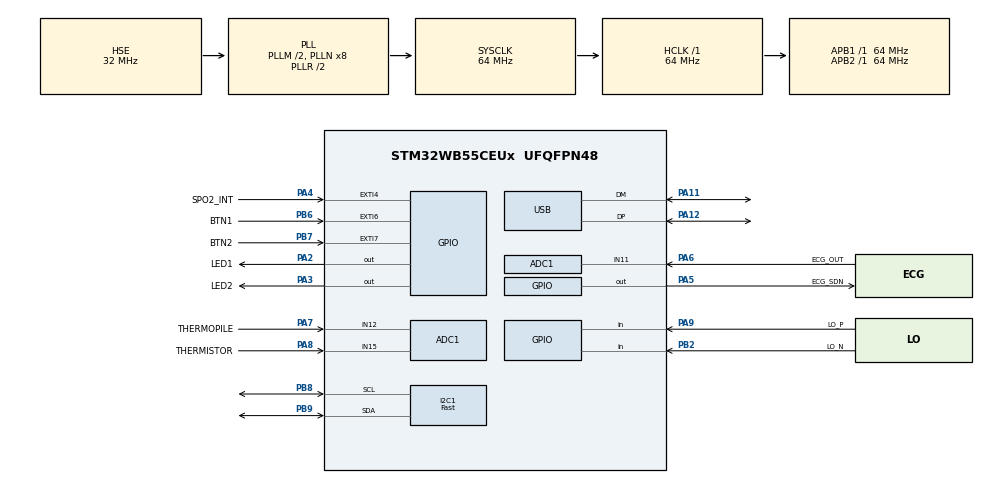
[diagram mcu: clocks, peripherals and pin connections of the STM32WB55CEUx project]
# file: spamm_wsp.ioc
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ADC1.Channel-0\#ChannelRegularConversion=ADC_CHANNEL_11
ADC1.ClockPrescaler=ADC_CLOCK_ASYNC_DIV2
ADC1.NbrOfConversionFlag=1
ADC1.OffsetNumber-0\#ChannelRegularConversion=ADC_OFFSET_NONE
ADC1.Rank-0\#ChannelRegularConversion=1
ADC1.SamplingTime-0\#ChannelRegularConversion=ADC_SAMPLETIME_640CYCLES_5
ADC1.master=1
FREERTOS.Tasks01=defaultTask,24,128,StartDefaultTask,Default,NULL,Dynamic,NULL,NULL;max30102Task,48,256,StartMax30102Task,Default,NULL,Static,max30102TaskBuffer,max30102TaskControlBlock;usbTask,8,512,StartUSBTask,Default,NULL,Static,usbTaskBuffer,usbTaskControlBlock;ecgTask,40,512,StartECGTask,Default,NULL,Dynamic,NULL,NULL
FREERTOS.configENABLE_FPU=1
I2C1.I2C_Speed_Mode=I2C_Fast
I2C1.Timing=0x00602173
Mcu.Family=STM32WB
Mcu.Name=STM32WB55CEUx
Mcu.Package=UFQFPN48
NVIC.ADC1_IRQn=true\:5\:0\:true\:false\:true\:false\:true\:true
NVIC.EXTI4_IRQn=true\:5\:0\:true\:false\:true\:true\:true\:true
NVIC.EXTI9_5_IRQn=true\:5\:0\:false\:false\:true\:false\:true\:true
NVIC.I2C1_EV_IRQn=true\:0\:0\:false\:false\:true\:true\:true\:true
NVIC.PriorityGroup=NVIC_PRIORITYGROUP_4
NVIC.TIM1_UP_TIM16_IRQn=true\:0\:0\:false\:false\:true\:false\:false\:true
NVIC.TIM2_IRQn=true\:0\:0\:false\:false\:true\:true\:true\:true
NVIC.TimeBase=TIM1_UP_TIM16_IRQn
NVIC.TimeBaseIP=TIM1
NVIC.USB_LP_IRQn=true\:0\:0\:false\:false\:true\:true\:false\:true
OSC_IN.Mode=HSE-External-Oscillator
OSC_IN.Signal=RCC_OSC_IN
OSC_OUT.Mode=HSE-External-Oscillator
OSC_OUT.Signal=RCC_OSC_OUT
PA11.Mode=Device
PA11.Signal=USB_DM
PA12.Mode=Device
PA12.Signal=USB_DP
PA13.Mode=Serial_Wire
PA13.Signal=SYS_JTMS-SWDIO
PA14.Mode=Serial_Wire
PA14.Signal=SYS_JTCK-SWCLK
PA2.GPIO_Label=LED1
PA2.Signal=GPIO_Output
PA3.GPIO_Label=LED2
PA3.Signal=GPIO_Output
PA4.GPIO_Label=SPO2_INT
PA4.GPIO_ModeDefaultEXTI=GPIO_MODE_IT_FALLING
PA4.GPIO_PuPd=GPIO_PULLUP
PA4.Signal=GPXTI4
PA5.GPIO_Label=ECG_SDN
PA5.Signal=GPIO_Output
PA6.GPIO_Label=ECG_OUT
PA6.Signal=ADCx_IN11
PA7.GPIO_Label=THERMOPILE
PA7.Signal=ADCx_IN12
PA8.GPIO_Label=THERMISTOR
PA8.Signal=ADCx_IN15
PA9.GPIO_Label=LO_P
PA9.Signal=GPIO_Input
PB2.GPIO_Label=LO_N
PB2.Signal=GPIO_Input
PB6.GPIO_Label=BTN1
PB6.GPIO_ModeDefaultEXTI=GPIO_MODE_IT_FALLING
PB6.GPIO_PuPd=GPIO_PULLUP
PB6.Signal=GPXTI6
PB7.GPIO_Label=BTN2
PB7.GPIO_PuPd=GPIO_PULLUP
PB7.Signal=GPXTI7
PB8.GPIO_FM8=SYSCFG_FASTMODEPLUS_PB8
PB8.GPIO_PuPdOD=GPIO_NOPULL
PB8.GPIO_Speed=GPIO_SPEED_FREQ_VERY_HIGH
PB8.Mode=I2C
PB8.Signal=I2C1_SCL
PB9.GPIO_FM9=SYSCFG_FASTMODEPLUS_PB9
PB9.GPIO_PuPdOD=GPIO_NOPULL
PB9.GPIO_Speed=GPIO_SPEED_FREQ_VERY_HIGH
PB9.Mode=I2C
PB9.Signal=I2C1_SDA
ProjectManager.HeapSize=0x200
ProjectManager.StackSize=0x400
ProjectManager.TargetToolchain=STM32CubeIDE
RCC.ADCCLockSelection=RCC_ADCCLKSOURCE_PLL
RCC.ADCFreq_Value=64000000
RCC.AHB2CLKDivider=RCC_SYSCLK_DIV2
RCC.AHBFreq_Value=64000000
RCC.APB1Freq_Value=64000000
RCC.APB1TimFreq_Value=64000000
RCC.APB2Freq_Value=64000000
RCC.APB2TimFreq_Value=64000000
RCC.APB3Freq_Value=16000000
RCC.Cortex2_Div=SYSTICK_CLKSOURCE_HCLK_DIV8
RCC.CortexFreq_Value=64000000
RCC.HCLKFreq_Value=64000000
RCC.HSE_VALUE=32000000
RCC.HSI48_VALUE=48000000
RCC.HSI_VALUE=16000000
RCC.LSE_VALUE=32768
RCC.PLLM=RCC_PLLM_DIV2
RCC.PLLSAI1N=6
RCC.PLLSourceVirtual=RCC_PLLSOURCE_HSE
RCC.SMPSCLockSelectionVirtual=RCC_SMPSCLKSOURCE_HSE
RCC.SYSCLKFreq_VALUE=64000000
RCC.SYSCLKSource=RCC_SYSCLKSOURCE_PLLCLK
RCC.USBFreq_Value=48000000
RCC.VCOOutputFreq_Value=128000000
RF1.Signal=RF_RF1
SH.ADCx_IN11.0=ADC1_IN11,IN11-Single-Ended
SH.ADCx_IN12.0=ADC1_IN12,IN12-Single-Ended
SH.ADCx_IN15.0=ADC1_IN15,IN15-Single-Ended
TIM2.AutoReloadPreload=TIM_AUTORELOAD_PRELOAD_ENABLE
TIM2.Channel-Output\ Compare1\ No\ Output=TIM_CHANNEL_1
TIM2.CounterMode=TIM_COUNTERMODE_DOWN
TIM2.OCMode_1=TIM_OCMODE_ACTIVE
TIM2.Period=512000
TIM2.Pulse-Output\ Compare1\ No\ Output=10
USB_DEVICE.CLASS_NAME_FS=CDC
USB_DEVICE.VirtualMode=Cdc
USB_DEVICE.VirtualModeFS=Cdc_FS
VP_FREERTOS_VS_CMSIS_V2.Mode=CMSIS_V2
VP_SYS_VS_tim1.Mode=TIM1
VP_SYS_V_PVD_IN.Mode=Mode_PVD_Int
VP_TIM2_VS_no_output1.Mode=Output Compare1 No Output
VP_USB_DEVICE_VS_USB_DEVICE_CDC_FS.Mode=CDC_FS
board=custom

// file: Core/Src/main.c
/* USER CODE BEGIN Header */
/**
  ******************************************************************************
  * @file           : main.c
  * @brief          : Main program body
  ******************************************************************************
  * @attention
  *
  * <h2><center>&copy; Copyright (c) 2021 STMicroelectronics.
  * All rights reserved.</center></h2>
  *
  * This software component is licensed by ST under BSD 3-Clause license,
  * the "License"; You may not use this file except in compliance with the
  * License. You may obtain a copy of the License at:
  *                        opensource.org/licenses/BSD-3-Clause
  *
  ******************************************************************************
  */
/* USER CODE END Header */
#include "main.h"
#include "cmsis_os.h"
#include "usb_device.h"

/* USER CODE BEGIN Includes */
#include "usbd_cdc_if.h"
#include "stm_smps.h"
#include "adc.h"
#include "temperature.h"
#include "ecg.h"
#include "morse_tx.h"
#include "menu.h"
#include "das.h"
#include "MAX30102/MAX30102.h"
#include "string.h"
#include "stdio.h"
#include "usb_printf.h"

/* USER CODE END Includes */

typedef StaticTask_t osStaticThreadDef_t;

ADC_HandleTypeDef hadc1;

I2C_HandleTypeDef hi2c1;

TIM_HandleTypeDef htim2;

/* Definitions for defaultTask */
osThreadId_t defaultTaskHandle;
const osThreadAttr_t defaultTask_attributes = {
  .name = "defaultTask",
  .priority = (osPriority_t) osPriorityNormal,
  .stack_size = 128 * 4
};
/* Definitions for max30102Task */
osThreadId_t max30102TaskHandle;
uint32_t max30102TaskBuffer[ 256 ];
osStaticThreadDef_t max30102TaskControlBlock;
const osThreadAttr_t max30102Task_attributes = {
  .name = "max30102Task",
  .stack_mem = &max30102TaskBuffer[0],
  .stack_size = sizeof(max30102TaskBuffer),
  .cb_mem = &max30102TaskControlBlock,
  .cb_size = sizeof(max30102TaskControlBlock),
  .priority = (osPriority_t) osPriorityRealtime,
};
/* Definitions for usbTask */
osThreadId_t usbTaskHandle;
uint32_t usbTaskBuffer[ 512 ];
osStaticThreadDef_t usbTaskControlBlock;
const osThreadAttr_t usbTask_attributes = {
  .name = "usbTask",
  .stack_mem = &usbTaskBuffer[0],
  .stack_size = sizeof(usbTaskBuffer),
  .cb_mem = &usbTaskControlBlock,
  .cb_size = sizeof(usbTaskControlBlock),
  .priority = (osPriority_t) osPriorityLow,
};
/* Definitions for ecgTask */
osThreadId_t ecgTaskHandle;
const osThreadAttr_t ecgTask_attributes = {
  .name = "ecgTask",
  .priority = (osPriority_t) osPriorityHigh,
  .stack_size = 512 * 4
};

void SystemClock_Config(void);
static void MX_GPIO_Init(void);
static void MX_ADC1_Init(void);
static void MX_I2C1_Init(void);
static void MX_TIM2_Init(void);
void StartDefaultTask(void *argument);
void StartMax30102Task(void *argument);
void StartUSBTask(void *argument);
void StartECGTask(void *argument);

int main(void)
{

  /* MCU Configuration--------------------------------------------------------*/

  /* Reset of all peripherals, Initializes the Flash interface and the Systick. */
  HAL_Init();

  /* Configure the system clock */
  SystemClock_Config();

  /* Initialize all configured peripherals */
  MX_GPIO_Init();
  MX_USB_Device_Init();
  MX_ADC1_Init();
  MX_I2C1_Init();
  MX_TIM2_Init();
  /* USER CODE BEGIN 2 */
  Max30102_Init(&hi2c1);
  Max30102_ShutdownMode(1);
  //enable_smps();
  /* USER CODE END 2 */

  /* Init scheduler */
  osKernelInitialize();

  /* Create the thread(s) */
  /* creation of defaultTask */
  defaultTaskHandle = osThreadNew(StartDefaultTask, NULL, &defaultTask_attributes);

  /* creation of max30102Task */
  max30102TaskHandle = osThreadNew(StartMax30102Task, NULL, &max30102Task_attributes);

  /* creation of usbTask */
  usbTaskHandle = osThreadNew(StartUSBTask, NULL, &usbTask_attributes);

  /* creation of ecgTask */
  ecgTaskHandle = osThreadNew(StartECGTask, NULL, &ecgTask_attributes);

  /* Start scheduler */
  osKernelStart();

  /* We should never get here as control is now taken by the scheduler */
  /* Infinite loop */
  while (1)
  {

  }
}

void SystemClock_Config(void)
{
  RCC_OscInitTypeDef RCC_OscInitStruct = {0};
  RCC_ClkInitTypeDef RCC_ClkInitStruct = {0};
  RCC_PeriphCLKInitTypeDef PeriphClkInitStruct = {0};

  /** Configure the main internal regulator output voltage
  */
  __HAL_PWR_VOLTAGESCALING_CONFIG(PWR_REGULATOR_VOLTAGE_SCALE1);
  /** Initializes the RCC Oscillators according to the specified parameters
  * in the RCC_OscInitTypeDef structure.
  */
  RCC_OscInitStruct.OscillatorType = RCC_OSCILLATORTYPE_HSI|RCC_OSCILLATORTYPE_HSE;
  RCC_OscInitStruct.HSEState = RCC_HSE_ON;
  RCC_OscInitStruct.HSIState = RCC_HSI_ON;
  RCC_OscInitStruct.HSICalibrationValue = RCC_HSICALIBRATION_DEFAULT;
  RCC_OscInitStruct.PLL.PLLState = RCC_PLL_ON;
  RCC_OscInitStruct.PLL.PLLSource = RCC_PLLSOURCE_HSE;
  RCC_OscInitStruct.PLL.PLLM = RCC_PLLM_DIV2;
  RCC_OscInitStruct.PLL.PLLN = 8;
  RCC_OscInitStruct.PLL.PLLP = RCC_PLLP_DIV2;
  RCC_OscInitStruct.PLL.PLLR = RCC_PLLR_DIV2;
  RCC_OscInitStruct.PLL.PLLQ = RCC_PLLQ_DIV2;
  if (HAL_RCC_OscConfig(&RCC_OscInitStruct) != HAL_OK)
  {
    Error_Handler();
  }
  /** Configure the SYSCLKSource, HCLK, PCLK1 and PCLK2 clocks dividers
  */
  RCC_ClkInitStruct.ClockType = RCC_CLOCKTYPE_HCLK4|RCC_CLOCKTYPE_HCLK2
                              |RCC_CLOCKTYPE_HCLK|RCC_CLOCKTYPE_SYSCLK
                              |RCC_CLOCKTYPE_PCLK1|RCC_CLOCKTYPE_PCLK2;
  RCC_ClkInitStruct.SYSCLKSource = RCC_SYSCLKSOURCE_PLLCLK;
  RCC_ClkInitStruct.AHBCLKDivider = RCC_SYSCLK_DIV1;
  RCC_ClkInitStruct.APB1CLKDivider = RCC_HCLK_DIV1;
  RCC_ClkInitStruct.APB2CLKDivider = RCC_HCLK_DIV1;
  RCC_ClkInitStruct.AHBCLK2Divider = RCC_SYSCLK_DIV2;
  RCC_ClkInitStruct.AHBCLK4Divider = RCC_SYSCLK_DIV1;

  if (HAL_RCC_ClockConfig(&RCC_ClkInitStruct, FLASH_LATENCY_3) != HAL_OK)
  {
    Error_Handler();
  }
  /** Initializes the peripherals clocks
  */
  PeriphClkInitStruct.PeriphClockSelection = RCC_PERIPHCLK_SMPS|RCC_PERIPHCLK_I2C1
                              |RCC_PERIPHCLK_USB|RCC_PERIPHCLK_ADC;
  PeriphClkInitStruct.PLLSAI1.PLLN = 6;
  PeriphClkInitStruct.PLLSAI1.PLLP = RCC_PLLP_DIV2;
  PeriphClkInitStruct.PLLSAI1.PLLQ = RCC_PLLQ_DIV2;
  PeriphClkInitStruct.PLLSAI1.PLLR = RCC_PLLR_DIV2;
  PeriphClkInitStruct.PLLSAI1.PLLSAI1ClockOut = RCC_PLLSAI1_USBCLK;
  PeriphClkInitStruct.I2c1ClockSelection = RCC_I2C1CLKSOURCE_PCLK1;
  PeriphClkInitStruct.UsbClockSelection = RCC_USBCLKSOURCE_PLLSAI1;
  PeriphClkInitStruct.AdcClockSelection = RCC_ADCCLKSOURCE_PLL;
  PeriphClkInitStruct.SmpsClockSelection = RCC_SMPSCLKSOURCE_HSE;
  PeriphClkInitStruct.SmpsDivSelection = RCC_SMPSCLKDIV_RANGE0;
  if (HAL_RCCEx_PeriphCLKConfig(&PeriphClkInitStruct) != HAL_OK)
  {
    Error_Handler();
  }
}

static void MX_ADC1_Init(void)
{

  ADC_ChannelConfTypeDef sConfig = {0};

  /** Common config
  */
  hadc1.Instance = ADC1;
  hadc1.Init.ClockPrescaler = ADC_CLOCK_ASYNC_DIV2;
  hadc1.Init.Resolution = ADC_RESOLUTION_12B;
  hadc1.Init.DataAlign = ADC_DATAALIGN_RIGHT;
  hadc1.Init.ScanConvMode = ADC_SCAN_DISABLE;
  hadc1.Init.EOCSelection = ADC_EOC_SINGLE_CONV;
  hadc1.Init.LowPowerAutoWait = DISABLE;
  hadc1.Init.ContinuousConvMode = DISABLE;
  hadc1.Init.NbrOfConversion = 1;
  hadc1.Init.DiscontinuousConvMode = DISABLE;
  hadc1.Init.ExternalTrigConv = ADC_SOFTWARE_START;
  hadc1.Init.ExternalTrigConvEdge = ADC_EXTERNALTRIGCONVEDGE_NONE;
  hadc1.Init.DMAContinuousRequests = DISABLE;
  hadc1.Init.Overrun = ADC_OVR_DATA_PRESERVED;
  hadc1.Init.OversamplingMode = DISABLE;
  if (HAL_ADC_Init(&hadc1) != HAL_OK)
  {
    Error_Handler();
  }
  /** Configure Regular Channel
  */
  sConfig.Channel = ADC_CHANNEL_11;
  sConfig.Rank = ADC_REGULAR_RANK_1;
  sConfig.SamplingTime = ADC_SAMPLETIME_640CYCLES_5;
  sConfig.SingleDiff = ADC_SINGLE_ENDED;
  sConfig.OffsetNumber = ADC_OFFSET_NONE;
  sConfig.Offset = 0;
  if (HAL_ADC_ConfigChannel(&hadc1, &sConfig) != HAL_OK)
  {
    Error_Handler();
  }
  /* USER CODE BEGIN ADC1_Init 2 */

  	//setup fir and cfg adc channel
	//init_ecg_acqisition();
  /* USER CODE END ADC1_Init 2 */

}

static void MX_I2C1_Init(void)
{

  hi2c1.Instance = I2C1;
  hi2c1.Init.Timing = 0x00602173;
  hi2c1.Init.OwnAddress1 = 0;
  hi2c1.Init.AddressingMode = I2C_ADDRESSINGMODE_7BIT;
  hi2c1.Init.DualAddressMode = I2C_DUALADDRESS_DISABLE;
  hi2c1.Init.OwnAddress2 = 0;
  hi2c1.Init.OwnAddress2Masks = I2C_OA2_NOMASK;
  hi2c1.Init.GeneralCallMode = I2C_GENERALCALL_DISABLE;
  hi2c1.Init.NoStretchMode = I2C_NOSTRETCH_DISABLE;
  if (HAL_I2C_Init(&hi2c1) != HAL_OK)
  {
    Error_Handler();
  }
  /** Configure Analogue filter
  */
  if (HAL_I2CEx_ConfigAnalogFilter(&hi2c1, I2C_ANALOGFILTER_ENABLE) != HAL_OK)
  {
    Error_Handler();
  }
  /** Configure Digital filter
  */
  if (HAL_I2CEx_ConfigDigitalFilter(&hi2c1, 0) != HAL_OK)
  {
    Error_Handler();
  }

}

static void MX_TIM2_Init(void)
{

  TIM_MasterConfigTypeDef sMasterConfig = {0};
  TIM_OC_InitTypeDef sConfigOC = {0};

  htim2.Instance = TIM2;
  htim2.Init.Prescaler = 0;
  htim2.Init.CounterMode = TIM_COUNTERMODE_DOWN;
  htim2.Init.Period = 512000;
  htim2.Init.ClockDivision = TIM_CLOCKDIVISION_DIV1;
  htim2.Init.AutoReloadPreload = TIM_AUTORELOAD_PRELOAD_ENABLE;
  if (HAL_TIM_OC_Init(&htim2) != HAL_OK)
  {
    Error_Handler();
  }
  sMasterConfig.MasterOutputTrigger = TIM_TRGO_RESET;
  sMasterConfig.MasterSlaveMode = TIM_MASTERSLAVEMODE_DISABLE;
  if (HAL_TIMEx_MasterConfigSynchronization(&htim2, &sMasterConfig) != HAL_OK)
  {
    Error_Handler();
  }
  sConfigOC.OCMode = TIM_OCMODE_ACTIVE;
  sConfigOC.Pulse = 10;
  sConfigOC.OCPolarity = TIM_OCPOLARITY_HIGH;
  sConfigOC.OCFastMode = TIM_OCFAST_DISABLE;
  if (HAL_TIM_OC_ConfigChannel(&htim2, &sConfigOC, TIM_CHANNEL_1) != HAL_OK)
  {
    Error_Handler();
  }

}

static void MX_GPIO_Init(void)
{
  GPIO_InitTypeDef GPIO_InitStruct = {0};

  /* GPIO Ports Clock Enable */
  __HAL_RCC_GPIOB_CLK_ENABLE();
  __HAL_RCC_GPIOA_CLK_ENABLE();

  /*Configure GPIO pin Output Level */
  HAL_GPIO_WritePin(GPIOA, LED1_Pin|LED2_Pin|ECG_SDN_Pin, GPIO_PIN_RESET);

  /*Configure GPIO pins : LED1_Pin LED2_Pin ECG_SDN_Pin */
  GPIO_InitStruct.Pin = LED1_Pin|LED2_Pin|ECG_SDN_Pin;
  GPIO_InitStruct.Mode = GPIO_MODE_OUTPUT_PP;
  GPIO_InitStruct.Pull = GPIO_NOPULL;
  GPIO_InitStruct.Speed = GPIO_SPEED_FREQ_LOW;
  HAL_GPIO_Init(GPIOA, &GPIO_InitStruct);

  /*Configure GPIO pin : SPO2_INT_Pin */
  GPIO_InitStruct.Pin = SPO2_INT_Pin;
  GPIO_InitStruct.Mode = GPIO_MODE_IT_FALLING;
  GPIO_InitStruct.Pull = GPIO_PULLUP;
  HAL_GPIO_Init(SPO2_INT_GPIO_Port, &GPIO_InitStruct);

  /*Configure GPIO pin : LO_P_Pin */
  GPIO_InitStruct.Pin = LO_P_Pin;
  GPIO_InitStruct.Mode = GPIO_MODE_INPUT;
  GPIO_InitStruct.Pull = GPIO_NOPULL;
  HAL_GPIO_Init(LO_P_GPIO_Port, &GPIO_InitStruct);

  /*Configure GPIO pin : LO_N_Pin */
  GPIO_InitStruct.Pin = LO_N_Pin;
  GPIO_InitStruct.Mode = GPIO_MODE_INPUT;
  GPIO_InitStruct.Pull = GPIO_NOPULL;
  HAL_GPIO_Init(LO_N_GPIO_Port, &GPIO_InitStruct);

  /*Configure GPIO pin : BTN1_Pin */
  GPIO_InitStruct.Pin = BTN1_Pin;
  GPIO_InitStruct.Mode = GPIO_MODE_IT_FALLING;
  GPIO_InitStruct.Pull = GPIO_PULLUP;
  HAL_GPIO_Init(BTN1_GPIO_Port, &GPIO_InitStruct);

  /*Configure GPIO pin : BTN2_Pin */
  GPIO_InitStruct.Pin = BTN2_Pin;
  GPIO_InitStruct.Mode = GPIO_MODE_IT_RISING;
  GPIO_InitStruct.Pull = GPIO_PULLUP;
  HAL_GPIO_Init(BTN2_GPIO_Port, &GPIO_InitStruct);

  /* EXTI interrupt init*/
  HAL_NVIC_SetPriority(EXTI4_IRQn, 5, 0);
  HAL_NVIC_EnableIRQ(EXTI4_IRQn);

  HAL_NVIC_SetPriority(EXTI9_5_IRQn, 5, 0);
  HAL_NVIC_EnableIRQ(EXTI9_5_IRQn);

}

/* USER CODE BEGIN 4 */

// Can be used to see which button is causing the main task to wake up
volatile uint8_t notify_button_value;

void HAL_GPIO_EXTI_Callback(uint16_t GPIO_Pin){
	if (notify_button_value == 0) {
		if (GPIO_Pin == BTN1_Pin) {
			notify_button_value |= 1;
			BaseType_t taskWoken = pdFALSE;
			vTaskNotifyGiveFromISR(defaultTaskHandle, &taskWoken);
		}
		if (GPIO_Pin == BTN2_Pin) {
			notify_button_value |= 2;
			BaseType_t taskWoken = pdFALSE;
			vTaskNotifyGiveFromISR(defaultTaskHandle, &taskWoken);
		}
	}
	if (GPIO_Pin == SPO2_INT_Pin) {
		Max30102_InterruptCallback();
	}
	// Use button 2 for ECG control.
	/* if(GPIO_Pin == BTN2_Pin){ */
	/* 	if(ecg_enabled && (uint8_t)1 ){ */
	/* 		//Wait for the buffer to be marked as finished to be safe */
	/* 		//while(!buffer_finished); */
	/* 		stop_ecg_acquisition(); */
	/* 		HAL_GPIO_WritePin(LED1_GPIO_Port, LED1_Pin, GPIO_PIN_RESET); */
	/* 	} */
	/* 	else{ */
	/* 		start_ecg_acqisition(); */
	/* 		HAL_GPIO_WritePin(LED1_GPIO_Port, LED1_Pin, GPIO_PIN_SET); */
	/* 	} */
	/* } */

}

void print_adc(uint32_t channel, const char *name){
	uint32_t val = read_adc_channel(channel);
	usb_printf("%s: %lu\r\n", name, val);
}

void HAL_ADC_ConvCpltCallback(ADC_HandleTypeDef *hadc){
	if(ecg_enabled) ecg_adc_callback(HAL_ADC_GetValue(hadc));
}

/* USER CODE END 4 */

void StartDefaultTask(void *argument)
{
  /* USER CODE BEGIN 5 */
	/* Infinite loop */
	for (;;) {
		run_main_menu();
	}
  /* USER CODE END 5 */
}

void StartMax30102Task(void *argument)
{
  /* USER CODE BEGIN StartMax30102Task */
  /* Infinite loop */
  for(;;)
  {
	Max30102_Task();
    osDelay(100);
  }
  /* USER CODE END StartMax30102Task */
}

void StartUSBTask(void *argument)
{
  /* USER CODE BEGIN StartUSBTask */
  /* Infinite loop */
  for(;;)
  {
      das_loop_fun();
      osDelay(1);
  }
  /* USER CODE END StartUSBTask */
}

void StartECGTask(void *argument)
{
  /* USER CODE BEGIN StartECGTask */
	/* Infinite loop */
	for (;;) {

		// Wait for notification from ISR
		int notifiedvalue = ulTaskNotifyTake(pdFALSE, -1);
		if (notifiedvalue > 0) {
			run_ecg_filter();
		}
		osDelay(1);
	}
  /* USER CODE END StartECGTask */
}

void HAL_TIM_PeriodElapsedCallback(TIM_HandleTypeDef *htim)
{
  if (htim->Instance == TIM1) {
    HAL_IncTick();
  }
  /* USER CODE BEGIN Callback 1 */

  if(htim->Instance == TIM2){
	  if(ecg_enabled)  ecg_tim_callback();
  }

  /* USER CODE END Callback 1 */
}

void Error_Handler(void)
{
}

/************************ (C) COPYRIGHT STMicroelectronics *****END OF FILE****/
